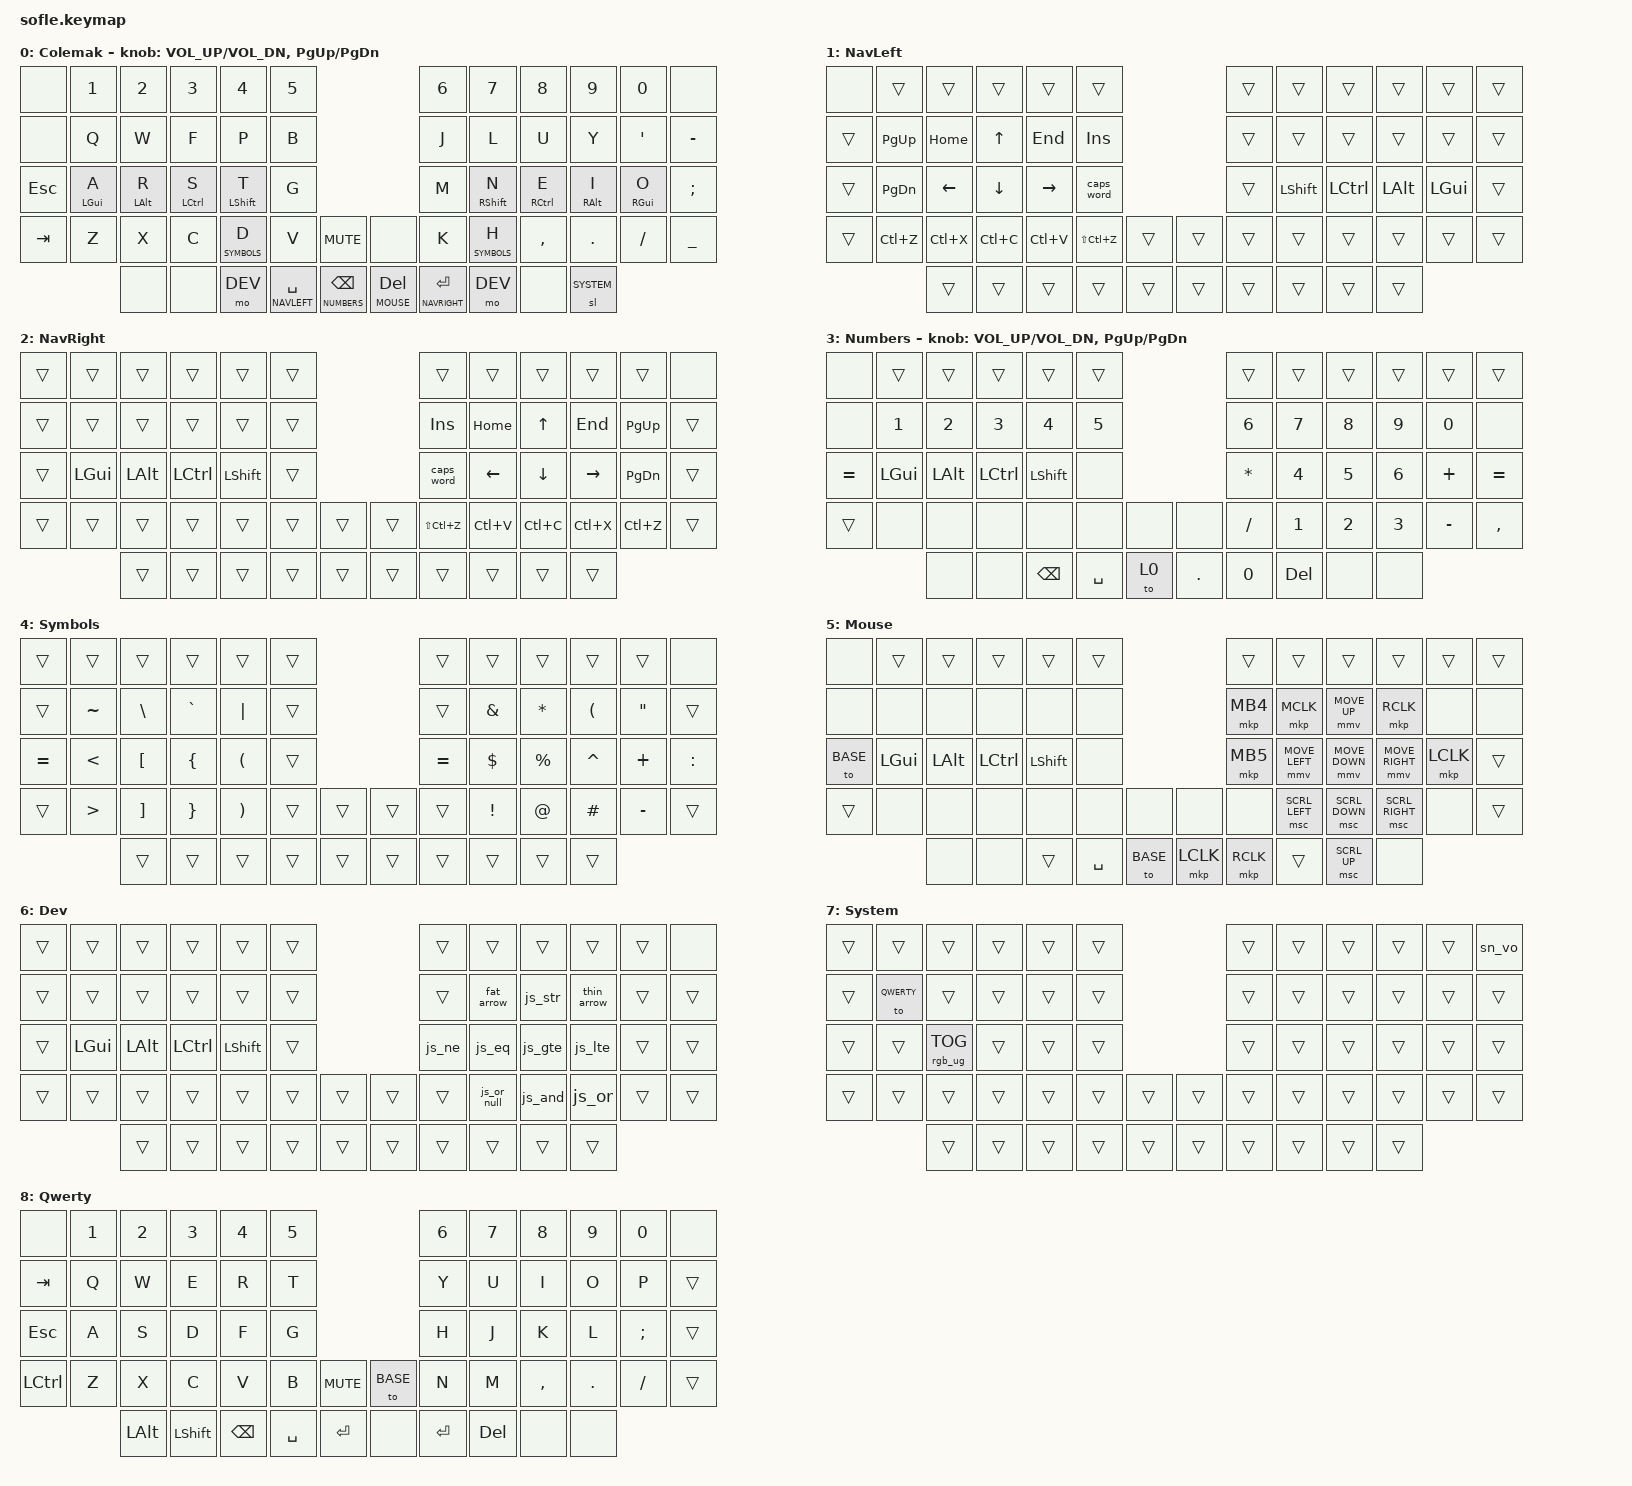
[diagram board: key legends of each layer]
/*
 * Copyright (c) 2020 The ZMK Contributors
 *
 * SPDX-License-Identifier: MIT
 */

#include <behaviors.dtsi>
#include <dt-bindings/zmk/keys.h>
#include <dt-bindings/zmk/bt.h>
#include <dt-bindings/zmk/rgb.h>
#include <dt-bindings/zmk/ext_power.h>
#include <dt-bindings/zmk/pointing.h>

#define BASE 0
#define NAVLEFT 1
#define NAVRIGHT 2
#define NUMBERS 3
#define SYMBOLS 4
#define MOUSE 5
#define DEV 6
#define SYSTEM 7
#define QWERTY 8

#include "includes/keys.h"
#include "includes/macros.dtsi"

/ {
    behaviors {
        hml: home_row_mod_left {
            compatible = "zmk,behavior-hold-tap";
            label = "HOMEROW_MOD_LEFT";
            #binding-cells = <2>;
            flavor = "balanced";
            require-prior-idle-ms = <150>;
            tapping-term-ms = <280>;
            quick-tap-ms = <175>;
            bindings = <&kp>, <&kp>;
            hold-trigger-key-positions = < KEYS_R THUMBS >; // List of keys on the right side of the keyboard
            hold-trigger-on-release;
        };
        hmr: home_row_mod_right {
            compatible = "zmk,behavior-hold-tap";
            label = "HOMEROW_MOD_RIGHT";
            #binding-cells = <2>;
            flavor = "balanced";
            require-prior-idle-ms = <150>;
            tapping-term-ms = <280>;
            quick-tap-ms = <175>;
            bindings = <&kp>, <&kp>;
            hold-trigger-key-positions = < KEYS_L THUMBS >; // List of keys on the left side of the keyboard
            hold-trigger-on-release;
        };
    };
};

&mt {
  tapping-term-ms = <190>;
};

&lt {
  flavor = "balanced";
  tapping-term-ms = <190>;
  quick-tap-ms = <165>;
};

/ {

    combos {
        compatible = "zmk,combos";
        combo_qwerty {
            timeout-ms = <100>;
            key-positions = <RT3 LT4>;
            layers = <BASE>;
            bindings = <&to QWERTY>;
        };
    };

    keymap {
        compatible = "zmk,keymap";

        base_layer {
            display-name = "Colemak";
// ------------------------------------------------------------------------------------------------------------
// |       |  1  |  2  |  3   |  4   |  5   |                   |  6   |  7    |  8    |  9   |   0   |       |
// |       |  Q  |  W  |  F   |  P   |  B   |                   |  J   |  L    |  U    |  Y   |   '   |   -   |
// |  ESC  |  A  |  R  |  S   |  T   |  G   |                   |  M   |  N    |  E    |  I   |   O   |   ;   |
// |  TAB  |  Z  |  X  |  C   |  D   |  V   |  MUTE  |  |       |  K   |  H    |  ,    |  .   |   /   |   _   |
//               |     |      |      | SPACE|  BSPC  |  | DEL   | ENTER|       |       |      |
            bindings = <
&none     &kp N1       &kp N2       &kp N3        &kp N4         &kp N5                                              &kp N6           &kp N7         &kp N8        &kp N9       &kp N0       &none
&none     &kp Q        &kp W        &kp F         &kp P          &kp B                                               &kp J            &kp L          &kp U         &kp Y        &kp SQT      &kp MINUS
&kp ESC   &hml LGUI A  &hml LALT R  &hml LCTRL S  &hml LSHIFT T  &kp G                                               &kp M            &hmr RSHIFT N  &hmr RCTRL E  &hmr RALT I  &hmr RGUI O  &kp SEMI
&kp TAB   &kp Z        &kp X        &kp C         &lt SYMBOLS D  &kp V             &kp C_MUTE         &none          &kp K            &lt SYMBOLS H  &kp COMMA     &kp DOT      &kp FSLH     &kp UNDER
                       &none        &none         &mo DEV        &lt NAVLEFT SPACE &lt NUMBERS BSPC   &lt MOUSE DEL  &lt NAVRIGHT RET &mo DEV        &none         &sl SYSTEM
            >;

            sensor-bindings = <&inc_dec_kp C_VOL_UP C_VOL_DN &inc_dec_kp PG_UP PG_DN>;
        };

        navleft_layer {
            display-name = "NavLeft";

// ------------------------------------------------------------------------------------------------------------
// |       |        |        |        |         |          |                   |      |         |        |       |       |       |
// |       |  PgUp  |  Home  |  Up    |  End    |  Ins     |                   |      |         |        |       |       |       |
// |       |  PgDn  |  Left  |  Down  |  Right  |  CapsWord|                   |      |  SHIFT  |  CTRL  |  ALT  |  GUI  |       |
// |       |  Undo  |  Cut   |  Copy  |  Paste  |  Redo    |        |  |       |      |         |        |       |       |       |
//                  |        |        |         |          |        |  |       |      |         |        |       |
            bindings = <
&none     &trans      &trans      &trans      &trans        &trans                            &trans    &trans      &trans      &trans      &trans      &trans
&trans    &kp PG_UP   &kp HOME    &kp UP      &kp END       &kp INS                           &trans    &trans      &trans      &trans      &trans      &trans
&trans    &kp PG_DN   &kp LEFT    &kp DOWN    &kp RIGHT     &caps_word                        &trans    &kp LSHIFT  &kp LCTRL   &kp LALT    &kp LGUI    &trans
&trans    &kp LC(Z)   &kp LC(X)   &kp LC(C)   &kp LC(V)     &kp LS(LC(Z)) &trans    &trans    &trans    &trans      &trans      &trans      &trans      &trans
                      &trans      &trans      &trans        &trans        &trans    &trans    &trans    &trans      &trans      &trans
            >;
        };

        navright_layer {
            display-name = "NavRight";

// ------------------------------------------------------------------------------------------------------------
// |       |        |        |        |         |        |                   |          |         |        |       |       |       |
// |       |        |        |        |         |        |                   | Ins      |  End    |  Up    | Home  | PgUp  |       |
// |       |  GUI   |  ALT   |  CTRL  |  SHIFT  |        |                   | CapsWord |  Right  |  Down  | Left  |  PgDn |       |
// |       |        |        |        |         |        |        |  |       | Redo     |  Paste  |  Copy  |  Cut  | Undo  |       |
//                  |        |        |         |        |        |  |       |          |         |        |       |
            bindings = <
&trans    &trans      &trans      &trans      &trans        &trans                            &trans        &trans     &trans      &trans      &trans      &none
&trans    &trans      &trans      &trans      &trans        &trans                            &kp INS       &kp HOME   &kp UP      &kp END     &kp PG_UP   &trans
&trans    &kp LGUI    &kp LALT    &kp LCTRL   &kp LSHIFT    &trans                            &caps_word    &kp LEFT   &kp DOWN    &kp RIGHT   &kp PG_DN   &trans
&trans    &trans      &trans      &trans      &trans        &trans      &trans    &trans      &kp LS(LC(Z)) &kp LC(V)  &kp LC(C)   &kp LC(X)   &kp LC(Z)   &trans
                      &trans      &trans      &trans        &trans      &trans    &trans      &trans        &trans     &trans      &trans
            >;
        };

        number_layer {
            display-name = "Numbers";
// ------------------------------------------------------------------------------------------------------------
// |       |       |       |        |        |      |                   |      |       |       |      |       |       |
// |       |  1    |  2    |  3     |  4     |  5   |                   |  6   |  7    |  8    |  9   |   0   |       |
// |   =   |  GUI  |  ALT  |  CTRL  |  SHIFT |      |                   |  *   |  4    |  5    |  6   |   +   |   =   |
// |       |       |       |        |        |      |        |  |       |  /   |  1    |  2    |  3   |   -   |   ,   |
//                 |       |        |  BKSPC | SPACE|  Base  |  |   .   |  0   |  DEL  |       |      |
            bindings = <
&none     &trans    &trans    &trans      &trans      &trans                       &trans    &trans   &trans   &trans   &trans    &trans
&none     &kp N1    &kp N2    &kp N3      &kp N4      &kp N5                       &kp N6    &kp N7   &kp N8   &kp N9   &kp N0    &none
&kp EQUAL &kp LGUI  &kp LALT  &kp LCTRL   &kp LSHIFT  &none                        &kp ASTRK &kp N4   &kp N5   &kp N6   &kp PLUS  &kp EQUAL
&trans    &none     &none     &none       &none       &none      &none    &none    &kp FSLH  &kp N1   &kp N2   &kp N3   &kp MINUS &kp COMMA
                    &none     &none       &kp BSPC    &kp SPACE  &to 0    &kp DOT  &kp N0    &kp DEL  &none    &none
            >;

            sensor-bindings = <&inc_dec_kp C_VOL_UP C_VOL_DN &inc_dec_kp PG_UP PG_DN>;
        };

        symbols_layer {
            display-name = "Symbols";

// ------------------------------------------------------------------------------------------------------------
// |       |        |        |        |         |        |                   |          |         |        |       |       |       |
// |       |  ~     |  \     |  `     |  |      |        |                   |          |  &      |  *     |  (    |  "    |       |
// |  =    |  <     |  [     |  {     |  (      |        |                   | =        |  $      |  %     |  ^    |  +    |  :    |
// |       |  >     |  ]     |  }     |  )      |        |        |  |       |          |  !      |  @     |  #    |  -    |       |
//                  |        |        |         |        |        |  |       |          |         |        |       |
            bindings = <
&trans    &trans     &trans      &trans      &trans      &trans                        &trans     &trans     &trans    &trans     &trans     &none
&trans    &kp TILDE  &kp BSLH    &kp GRAVE   &kp PIPE    &trans                        &trans     &kp AMPS   &kp ASTRK &kp LPAR   &kp DQT    &trans
&kp EQUAL &kp LT     &kp LBKT    &kp LBRC    &kp LPAR    &trans                        &kp EQUAL  &kp DLLR   &kp PRCNT &kp CARET  &kp PLUS   &kp COLON
&trans    &kp GT     &kp RBKT    &kp RBRC    &kp RPAR    &trans    &trans    &trans    &trans     &kp EXCL   &kp AT    &kp HASH   &kp MINUS  &trans
                     &trans      &trans      &trans      &trans    &trans    &trans    &trans     &trans     &trans    &trans
            >;
        };

        mouse_layer {
            display-name = "Mouse";

// ------------------------------------------------------------------------------------------------------------
// |       |       |       |       |       |       |                   |       |       |       |       |       |       |
// |       |       |       |       |       |       |                   |  MB4  | MCLK  | MV UP | RCLK  |       |       |
// | TO BAS|  GUI  |  ALT  | CTRL  | SHIFT |       |                   |  MB5  | MV LFT| MV DWN| MV RGT| LCLK  |       |
// |       |       |       |       |       |       |        |  |       |       | SCR L | SCR D | SCR R |       |       |
//                 |       |       |       | SPACE | TO BAS |  | LCLK  | RCLK  |       | SCR U |       |
            bindings = <
&none     &trans    &trans    &trans      &trans      &trans                          &trans     &trans          &trans          &trans           &trans     &trans
&none     &none     &none     &none       &none       &none                           &mkp MB4   &mkp MCLK       &mmv MOVE_UP    &mkp RCLK        &none      &none 
&to BASE  &kp LGUI  &kp LALT  &kp LCTRL   &kp LSHIFT  &none                           &mkp MB5   &mmv MOVE_LEFT  &mmv MOVE_DOWN  &mmv MOVE_RIGHT  &mkp LCLK  &trans
&trans    &none     &none     &none       &none       &none      &none     &none      &none      &msc SCRL_LEFT  &msc SCRL_DOWN  &msc SCRL_RIGHT  &none      &trans
                    &none     &none       &trans      &kp SPACE  &to BASE  &mkp LCLK  &mkp RCLK  &trans          &msc SCRL_UP    &none
            >;
        };

        dev_layer {
            display-name = "Dev";

// ------------------------------------------------------------------------------------------------------------
// |       |        |        |        |         |        |                   |         |        |        |        |      |       |
// |       |        |        |        |         |        |                   |         |  =>    |  ${    | ->     |      |       |
// |       |  GUI   |  ALT   |  CTRL  |  SHIFT  |        |                   |   !==   |  ===   |  >=    | <=     |      |       |
// |       |        |        |        |         |        |        |  |       |         |   ??   |   &&   |   ||   |      |       |
//                  |        |        |         |        |        |  |       |         |        |        |        |
            bindings = <
&trans    &trans      &trans      &trans      &trans        &trans                            &trans     &trans       &trans     &trans       &trans      &none
&trans    &trans      &trans      &trans      &trans        &trans                            &trans     &fat_arrow   &js_str    &thin_arrow  &trans      &trans
&trans    &kp LGUI    &kp LALT    &kp LCTRL   &kp LSHIFT    &trans                            &js_ne     &js_eq       &js_gte    &js_lte      &trans      &trans
&trans    &trans      &trans      &trans      &trans        &trans      &trans    &trans      &trans     &js_or_null  &js_and    &js_or       &trans      &trans
                      &trans      &trans      &trans        &trans      &trans    &trans      &trans     &trans       &trans     &trans
            >;
        };

        system_layer {
            display-name = "System";

// ------------------------------------------------------------------------------------------------------------
// |       |       |        |       |        |       |                   |        |        |        |       |       |  SN VO  |
// |       | QWERTY|        |       |        |       |                   |        |        |        |       |       |         |
// |       |       | RGB TOG|       |        |       |                   |        |        |        |       |       |         |
// |       |       |        |       |        |       |        |  |       |        |        |        |       |       |         |
//                 |        |       |        |       |        |  |       |        |        |        |       |
            bindings = <
&trans    &trans      &trans      &trans      &trans        &trans                            &trans        &trans     &trans      &trans      &trans      &sn_vo
&trans    &to QWERTY  &trans      &trans      &trans        &trans                            &trans        &trans     &trans      &trans      &trans      &trans
&trans    &trans      &rgb_ug RGB_TOG      &trans      &trans        &trans                            &trans        &trans     &trans      &trans      &trans      &trans
&trans    &trans      &trans      &trans      &trans        &trans      &trans    &trans      &trans        &trans     &trans      &trans      &trans      &trans
                      &trans      &trans      &trans        &trans      &trans    &trans      &trans        &trans     &trans      &trans
            >;
        };

        qwerty_layer {
            display-name = "Qwerty";

// ------------------------------------------------------------------------------------------------------------
// |       |  1  |  2  |  3   |  4   |  5   |                   |  6   |  7    |  8    |  9   |   0   |       |
// |  TAB  |  Q  |  W  |  E   |  R   |  T   |                   |  Y   |  U    |  I    |  O   |   P   |   -   |
// |  ESC  |  A  |  S  |  D   |  F   |  G   |                   |  H   |  J    |  K    |  L   |   ;   |   ;   |
// |  CTRL |  Z  |  X  |  C   |  V   |  B   |  MUTE  |  |       |  N   |  M    |  ,    |  .   |   /   |   _   |
//               | ALT | SHIFT| BSPC | SPACE|  ENTER |  | To 0  | ENTER| DEL   |       |      |
            bindings = <
&none      &kp N1    &kp N2    &kp N3      &kp N4      &kp N5                              &kp N6      &kp N7      &kp N8      &kp N9      &kp N0      &none
&kp TAB    &kp Q     &kp W     &kp E       &kp R       &kp T                               &kp Y       &kp U       &kp I       &kp O       &kp P       &trans
&kp ESC    &kp A     &kp S     &kp D       &kp F       &kp G                               &kp H       &kp J       &kp K       &kp L       &kp SEMI    &trans
&kp LCTRL  &kp Z     &kp X     &kp C       &kp V       &kp B      &kp C_MUTE    &to BASE   &kp N       &kp M       &kp COMMA   &kp DOT     &kp FSLH    &trans
                     &kp LALT  &kp LSHIFT  &kp BSPC    &kp SPACE  &kp RET       &none      &kp RET     &kp DEL     &none       &none
            >;
        };
    };
};
